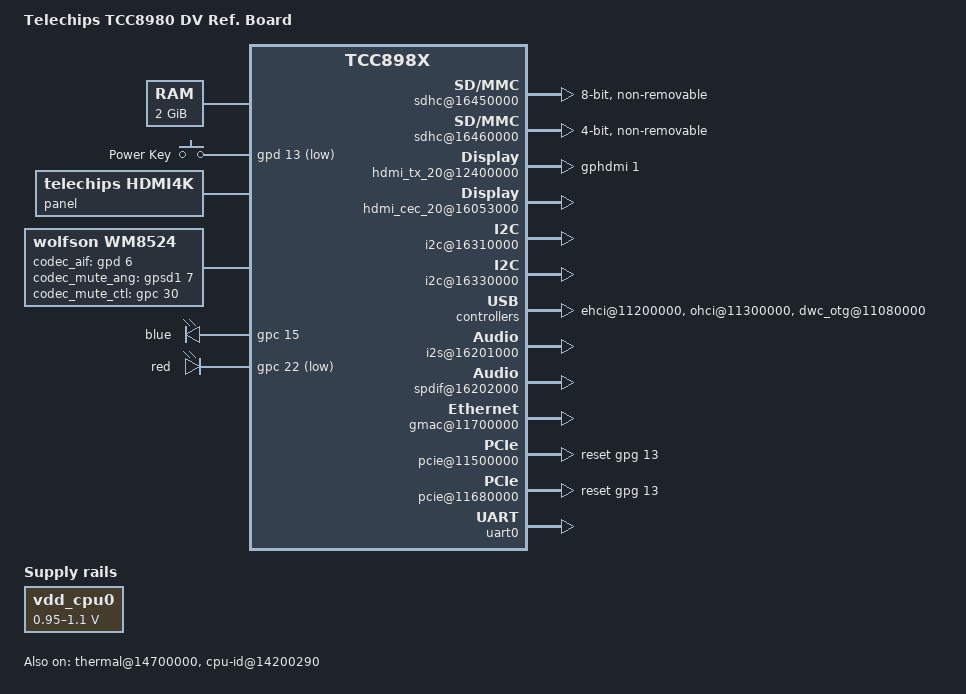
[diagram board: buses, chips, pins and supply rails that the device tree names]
/*
 * Device tree for Telechips TCC8980 STB board
 *
 * Copyright (C) 2016 Telechips Inc. - http://www.telechips.com
 *
 * This file is dual-licensed: you can use it either under the terms
 * of the GPL or the X11 license, at your option. Note that this dual
 * licensing only applies to this file, and not this project as a
 * whole.
 *
 *  a) This file is free software; you can redistribute it and/or
 *     modify it under the terms of the GNU General Public License as
 *     published by the Free Software Foundation; either version 2 of the
 *     License, or (at your option) any later version.
 *
 *     This file is distributed in the hope that it will be useful,
 *     but WITHOUT ANY WARRANTY; without even the implied warranty of
 *     MERCHANTABILITY or FITNESS FOR A PARTICULAR PURPOSE.  See the
 *     GNU General Public License for more details.
 *
 * Or, alternatively,
 *
 *  b) Permission is hereby granted, free of charge, to any person
 *     obtaining a copy of this software and associated documentation
 *     files (the "Software"), to deal in the Software without
 *     restriction, including without limitation the rights to use,
 *     copy, modify, merge, publish, distribute, sublicense, and/or
 *     sell copies of the Software, and to permit persons to whom the
 *     Software is furnished to do so, subject to the following
 *     conditions:
 *
 *     The above copyright notice and this permission notice shall be
 *     included in all copies or substantial portions of the Software.
 *
 *     THE SOFTWARE IS PROVIDED "AS IS", WITHOUT WARRANTY OF ANY KIND,
 *     EXPRESS OR IMPLIED, INCLUDING BUT NOT LIMITED TO THE WARRANTIES
 *     OF MERCHANTABILITY, FITNESS FOR A PARTICULAR PURPOSE AND
 *     NONINFRINGEMENT. IN NO EVENT SHALL THE AUTHORS OR COPYRIGHT
 *     HOLDERS BE LIABLE FOR ANY CLAIM, DAMAGES OR OTHER LIABILITY,
 *     WHETHER IN AN ACTION OF CONTRACT, TORT OR OTHERWISE, ARISING
 *     FROM, OUT OF OR IN CONNECTION WITH THE SOFTWARE OR THE USE OR
 *     OTHER DEALINGS IN THE SOFTWARE.
 */

/dts-v1/;

#include "tcc8980.dtsi"
#include "tcc898x-linux.dtsi"

/ {
	model = "Telechips TCC8980 DV Ref. Board";
	compatible = "telechips,tcc8980", "telechips,tcc898x";

	chosen {
	};

	memory@20000000 {
		device_type = "memory";
		reg = <0x20000000 0x80000000>;
	};

	cpu0-regulators {
		compatible = "regulator-gpio";

		regulator-name = "vdd_cpu0";
		regulator-min-microvolt = < 950000>;
		regulator-max-microvolt = <1100000>;
		regulator-type = "voltage";
		regulator-always-on;

		gpios = <&gpe 8 0x4>;
		gpios-states = <1>;

		states = < 950000 0x0
			  1100000 0x1
		>;

		startup-delay-us = <100000>;
		enable-active-high;
	};

	tcc_pm {
		wakeup,powerkey = <PMU_WKUP_GP_D13 WAKEUP_ACT_LO>;
	};

	gpio_keys_polled {
		compatible = "gpio-keys-polled";
		#address-cells = <1>;
		#size-cells = <0>;
		poll-interval = <100>;
		autorepeat;
		button@0 {
			label = "Power Key";
			linux,code = <116>;
			gpios = <&gpd 13 1>;
		};
	};

	panel {
		status = "okay";
		compatible = "telechips,hdmi4k";
	};

	tve@12200000 {
		status = "okay";
	};

	composite {
		status = "okay";
	};

	//component {
	//	status = "okay";
	//	io_port_num = <0>;
	//};

	output_starter {
		status = "okay";
	};

	overlaymixer:overlaymixer@1A100000 {
		status ="okay";
		contiguousSize = <0x1000000>;  /* 16MB (if > 512MB RAM) refer to Guide 27 Page */
		baseAddress = <0x20000000>;
		physSize = <0x80000000>; /*  DRAM size (0x40000000 = 1GB, 0x80000000 = 2GB) */
	};

	fbdisplay: fbdisplay@12000000 {
		telechips,fbdisplay_num = <0>;
		status ="okay";
	};

	tcc_overlay_drv {
		compatible = "telechips,tcc_overlay";
		status = "okay";
		fbdisplay-overlay = <&fbdisplay>;
	};

	tcc_vsync_drv {
		compatible = "telechips,tcc_vsync";
		display-vioc0 = <&vioc_display0>;
		display-vioc1 = <&vioc_display1>;
		status = "okay";
	};

	tcc_video_viqe {
		compatible = "telechips,tcc_viqe";
		status ="okay";
		tcc_viqe_viqe_common {
			board_num=<1>;
		};
	};

	scaler_drv@1 {
		rdmas = <&vioc_rdma16>;
		scalers = <&vioc_sc1 17>;	/* id:1, path:17 */
		wmixs = <&vioc_wmix5 6>;	/* id:5, path:6 */
		wdmas = <&vioc_wdma6>;
		settop_support = <1>;
		status = "okay";
	};

	scaler_drv@3 {
		rdmas = <&vioc_rdma7>;
		scalers = <&vioc_sc3 7>;	/* id:3, path:7 */
		wmixs = <&vioc_wmix1 2>;	/* id:1, path:2 */
		wdmas = <&vioc_wdma1>;
		settop_support = <1>;
		status = "okay";
	};

	wmixer_drv@0 {
		status = "okay";
	};

	wmixer_drv@1 {
		status = "okay";
	};

	vout_drv@0 {
		status = "okay";
	};

	sdhc@16450000 { // eMMC Boot
		status = "okay";
		controller-id = <1>;
		bus-width = <8>;
		max-frequency = <200000000>;
		pinctrl-names = "default", "active";
		pinctrl-0 = <&sd1_1_idle>;
		pinctrl-1 = <&sd1_1_clk &sd1_1_cmd &sd1_1_bus8>;
		//cd-inverted;
		//wp-inverted;
		non-removable;
		//broken-cd;
		//keep-power-in-suspend;
		//enable-sdio-wakeup;
		//cap-power-off-card;
		cap-sdio-irq;
		cap2-no-sleep-cmd;
		cap-bus-width-test;

		//wp-gpios = <&gpb 7 0>;
		//cd-gpios = <&gpext1 5 0>;
		vctrl-gpio = <&gpa 5 0>;
		pwr-gpio = <&gpe 16 0>;
		emmc-rst-gpio = <&gpa 6 0>; // To do : add handling code

		cd-polling;
		//wifi-polling;

		/* High-speed SDR */
		cap-sd-highspeed;
		cap-mmc-highspeed;

		/* High-speed DDR(emmc & SD3.0 DDR50) */
		cap-1-8V-ddr;
		cap-uhs-ddr50;

		/* emmc hs200 & SD3.0 Common */
		//cap-vdd-165-195;

		/* SD3.0 SDR12 */
		//cap-uhs-sdr12;

		/* SD3.0 SDR25 */
		//cap-uhs-sdr25;
		//cap-uhs-driver_type_a;

		/* SD3.0 SDR50 */
		//cap-uhs-sdr50;
		//cap-uhs-driver_type_c;

		/* SD3.0 SDR104 */
		//cap-uhs-sdr104;
		//cap-uhs-driver_type_d;
		//cap-uhs-cmd23;
		//cap-adma;

		/* eMMC HS200 */
		//mmc-hs200-1_8v;
		//cap-uhs-driver_type_d;
		//cap-uhs-cmd23;
		//cap-adma;
	};

	sdhc@16460000 { // SD Card
		status = "okay";
		controller-id = <2>;
		bus-width = <4>;
		max-frequency = <200000000>;
		pinctrl-names = "default", "active";
		pinctrl-0 = <&sd2_1_idle>;
		pinctrl-1 = <&sd2_1_clk &sd2_1_cmd &sd2_1_bus4>;
		cd-inverted;
		non-removable;
		//wp-inverted;
		//non-removable;
		//broken-cd;
		//keep-power-in-suspend;
		//enable-sdio-wakeup;
		//cap-power-off-card;
		cap-sdio-irq;
		cap2-no-sleep-cmd;
		cap-bus-width-test;

//		wp-gpios = <&gpsd0 10 0>;
//		cd-gpios = <&gpc 25 0>;
		vctrl-gpio = <&gpc 25 0>;
		//pwr-gpio = <&gpext2 7 0>;

		//cd-polling;
		//wifi-polling;

		/* High-speed SDR */
		cap-sd-highspeed;
		cap-mmc-highspeed;

		/* High-speed DDR(emmc & SD3.0 DDR50) */
		//cap-1-8V-ddr;
		//cap-uhs-ddr50;

		/* emmc hs200 & SD3.0 Common */
		//cap-vdd-165-195;

		/* SD3.0 SDR12 */
		//cap-uhs-sdr12;

		/* SD3.0 SDR25 */
		//cap-uhs-sdr25;
		//cap-uhs-driver_type_a;

		/* SD3.0 SDR50 */
		//cap-uhs-sdr50;
		//cap-uhs-driver_type_c;

		/* SD3.0 SDR104 */
		//cap-uhs-sdr104;
		//cap-uhs-driver_type_d;
		//cap-uhs-cmd23;
		//cap-adma;

		/* eMMC HS200 */
		//mmc-hs200-1_8v;
		//cap-uhs-driver_type_d;
		//cap-uhs-cmd23;
		//cap-adma;
	};

	hdmi_tx_20@12400000 {
		status = "okay";
		pinctrl-names = "default";
		pinctrl-0 = <&hdmi_hpd>;
		hdmi_i2c_mapping = <&i2c3>;
		hdmi_i2c_mapping_val = <0xC 0xF 0x0E>;
		verbose = <0>; // 0 disable, 1 basic, 2 io
		gpios = <&gphdmi 1 0>; // HPD for output starter
		hdmi_phy_type = <2>; // 0 8980, 1 8985_OTT, 2 8980 DV 0.1
	};

	hdmi_cec_20@16053000 {
		status = "okay";
		pinctrl-names = "default";
		pinctrl-0 = <&hdmi_cec>;
	};

	i2c@16310000 {
		port-mux = <8>;
		status = "okay";
		pinctrl-names = "default";
		pinctrl-0 = <&i2c8_bus>;
	};

	i2c@16330000 {
		port-mux = <14>;
		status = "okay";
		pinctrl-names = "default";
		pinctrl-0 = <&i2c14_bus>;
	};

	/* USB 2.0 HOST */
	ehci_phy@111A0010 {
		status = "okay";
		vbus-ctrl-able;
		vbus-gpio = <&gpc 20 0>;
	};

	mux_host_phy@111A00DC {
		status = "okay";
		vbus-ctrl-able;
		vbus-gpio = <&gpc 21 0>;
	};

	dwc_otg_phy@111A0100 {
		status = "okay";
		vbus-ctrl-able;
		vbus-gpio = <&gpc 21 0>;
	};

	ehci@11200000 {
		status = "okay";
		hcd_id = <0>;
		phy-type = <1>;	    //pico phy = 1, nano phy = 0
//		hosten-ctrl-able;
//		hosten-gpio = <&gpe 15 0>;
		vbus-ctrl-able;
		vbus-gpio = <&gpc 20 0>;
		//vbus-source-ctrl;
		//pinctrl-names = "default";
		//vdd_ehci-supply = <&vdd_v5p0_reg>;

		//sq_level_ctl;
		TXVRT = <0xB>;
		TXRISET = <0x3>;
		TXAT = <0x1>;
	};

	ohci@11300000 {
		status = "okay";
//		hosten-ctrl-able;
//		hosten-gpio = <&gpe 15 0>;
		vbus-ctrl-able;
		vbus-gpio = <&gpc 20 0>;
		//vbus-source-ctrl;
		//vdd_ohci-supply = <&vdd_v5p0_reg>;
	};

	/* USB 2.0 OTG */
	dwc_otg@11080000 {
		status = "okay";
		phy-type = <1>;     //pico phy = 1, nano phy = 0
		vbus-ctrl-able;
		vbus-gpio = <&gpc 21 0>;
	};

	i2s@16101000 {
		pinctrl-names = "default";
		pinctrl-0 = <&m0dai1_clks &m0dai1_d0>;
		port-mux = <1>;
		status = "disable";
	};

	i2s@16201000 {
		pinctrl-names = "default";
		pinctrl-0 = <&m1dai1_clks &m1dai1_d0>;
		port-mux = <1>;
		status = "okay";
	};

	spdif@16102000 {
		pinctrl-names = "default";
		pinctrl-0 = <&m0dai1_spdif_tx>;
		port-mux = <1>;
		status = "disable";
	};

	spdif@16202000 {
		pinctrl-names = "default";
		pinctrl-0 = <&m1dai1_spdif_tx>;
		port-mux = <1>;
		status = "okay";
	};

	adma@16100000 {
		status = "disable";
	};

	adma@16200000 {
		status = "okay";
	};

	wm8524: wm8524@0 {
		compatible = "wolfson,wm8524";
		status = "okay";

		codec_aif-gpios = <&gpd 6 0>;
		codec_mute_ang-gpios = <&gpsd1 7 0>;
		codec_mute_ctl-gpios = <&gpc 30 0>;
		/* value to enable mute*/
		codec_mute_ang-mute_value = <0>;
	};

	sound@0 {
		compatible = "telechips,snd-card";
		card-name = "TCC8980 STB Card";
		status = "okay";

		telechips,dai-link@0 {
			stream-name="I2S_1";

			codec,format = "i2s"; // i2s, left_j, right_j
			codec,continuous-clock;

			mclk_div = <16>; // 4,6,8,16
			bclk_ratio = <64>; // 32,48,64fs
			pcm = <&adma1>;
			dai = <&i2s1>;
			codec = <&wm8524>;
			codec,dai-name = "wm8524-hifi";
		};

		telechips,dai-link@1 {
			stream-name="SPDIF_1";

			pcm = <&adma1>;
			dai = <&spdif1>;
		};
	};

	remote@16040000 {
		int-gpios = <&gpc 28 0>;
		pinctrl-names = "default";
		pinctrl-0 = <&remote_c28>;
		wakeupsrc = <011>; //RMISEL is 0x3 : GPIO_C28
		status = "okay";
	};

	gmac@11700000 {
		status = "okay";
		phyrst-gpio = <&gpc 9 0>;
		phy-interface = "rgmii";
		ecid-mac-addr;
		txclk-o-dly = <16>;
		txclk-o-inv = <0>;
		txclk-i-dly = <0>;
		txclk-i-inv = <0>;
		txen-dly = <0>;
		txer-dly = <0>;
		txd0-dly = <0>;
		txd1-dly = <0>;
		txd2-dly = <0>;
		txd3-dly = <0>;
		txd4-dly = <0>;
		txd5-dly = <0>;
		txd6-dly = <0>;
		txd7-dly = <0>;
		rxclk-i-dly = <4>;
		rxclk-i-inv = <0>;
		rxdv-dly = <0>;
		rxer-dly = <0>;
		rxd0-dly = <0>;
		rxd1-dly = <0>;
		rxd2-dly = <0>;
		rxd3-dly = <0>;
		rxd4-dly = <0>;
		rxd5-dly = <0>;
		rxd6-dly = <0>;
		rxd7-dly = <0>;
		crs-dly = <0>;
		col-dly = <0>;
		pinctrl-names = "default", "mii", "rmii", "rgmii";
		pinctrl-0 = <>;
		pinctrl-1 = <&gmac1_mdc &gmac1_mdio &gmac1_col &gmac1_crs &gmac1_txer &gmac1_rxer
					 &gmac1_txclk &gmac1_txen &gmac1_txd0 &gmac1_txd1 &gmac1_txd2 &gmac1_txd3
					 &gmac1_rxclk &gmac1_rxdv &gmac1_rxd0 &gmac1_rxd1 &gmac1_rxd2 &gmac1_rxd3>;
		pinctrl-2 = <&gmac1_mdc &gmac1_mdio
					 &gmac1_txclk &gmac1_txen &gmac1_txd0 &gmac1_txd1
					 &gmac1_rxer &gmac1_rxdv &gmac1_rxd0 &gmac1_rxd1>;
		pinctrl-3 = <&gmac1_mdc &gmac1_mdio
					 &gmac1_txclk &gmac1_txen &gmac1_txd0 &gmac1_txd1 &gmac1_txd2 &gmac1_txd3
					 &gmac1_rxclk &gmac1_rxdv &gmac1_rxd0 &gmac1_rxd1 &gmac1_rxd2 &gmac1_rxd3>;
	};

	/* evt0/evt1 */
	pcie@11500000 {
		reset-gpio = <&gpg 13 0>;
		status = "okay";
	};

	pcie@11680000 {
		reset-gpio = <&gpg 13 0>;
		status = "okay";
	};

	thermal@14700000 {
		compatible = "telechips,tcc-thermal";
		reg = <0x14700000 0x4 0x14700030 0x4 0x14200290 0x4 0x1420029C 0x4>;
		clocks = <&clk_isoip_top ISOIP_TOP_TSEN>;
		status = "okay";

		throttle_count = <5>;
		throttle_active_count = <0>;
		throttle_passive_count = <5>;

		cal_type = "TYPE_ONE_POINT_TRIMMING";
		polling-delay-idle = <0>;
		polling-delay-passive = <0>;

		throttle_table {
			throttle_tab_0 {
				temp = <75>;
				freq_max_cluster0 = <1000000>;
				freq_max_cluster1 = <900000>;
			};
			throttle_tab_1 {
				temp = <80>;
				freq_max_cluster0 = <900000>;
				freq_max_cluster1 = <810000>;
			};
			throttle_tab_2 {
				temp = <85>;
				freq_max_cluster0 = <800000>;
				freq_max_cluster1 = <720000>;
			};
			throttle_tab_3 {
				temp = <90>;
				freq_max_cluster0 = <700000>;
				freq_max_cluster1 = <630000>;
			};
			throttle_tab_4 {
				temp = <95>;
				freq_max_cluster0 = <600000>;
				freq_max_cluster1 = <540000>;
			};
		};
	};

	cpu-id@14200290{
		compatible = "telechips,tcc-cpu-id";
		reg = <0x14200290 0x4 0x14200298 0x4 0x1420029C 0x4 0x14400014 0x4>;
		status = "okay";
	};

	run-control {
		compatible = "gpio-leds";
		blue {
			gpios = <&gpc 15 0>;
			default-state = "on";
		};
		red {
			gpios = <&gpc 22 1>;
			default-state = "on";
		};
	};
};

&uart0 {
	pinctrl-names = "default";
	pinctrl-0 = <&uart4_data>;
	status = "okay";
};
